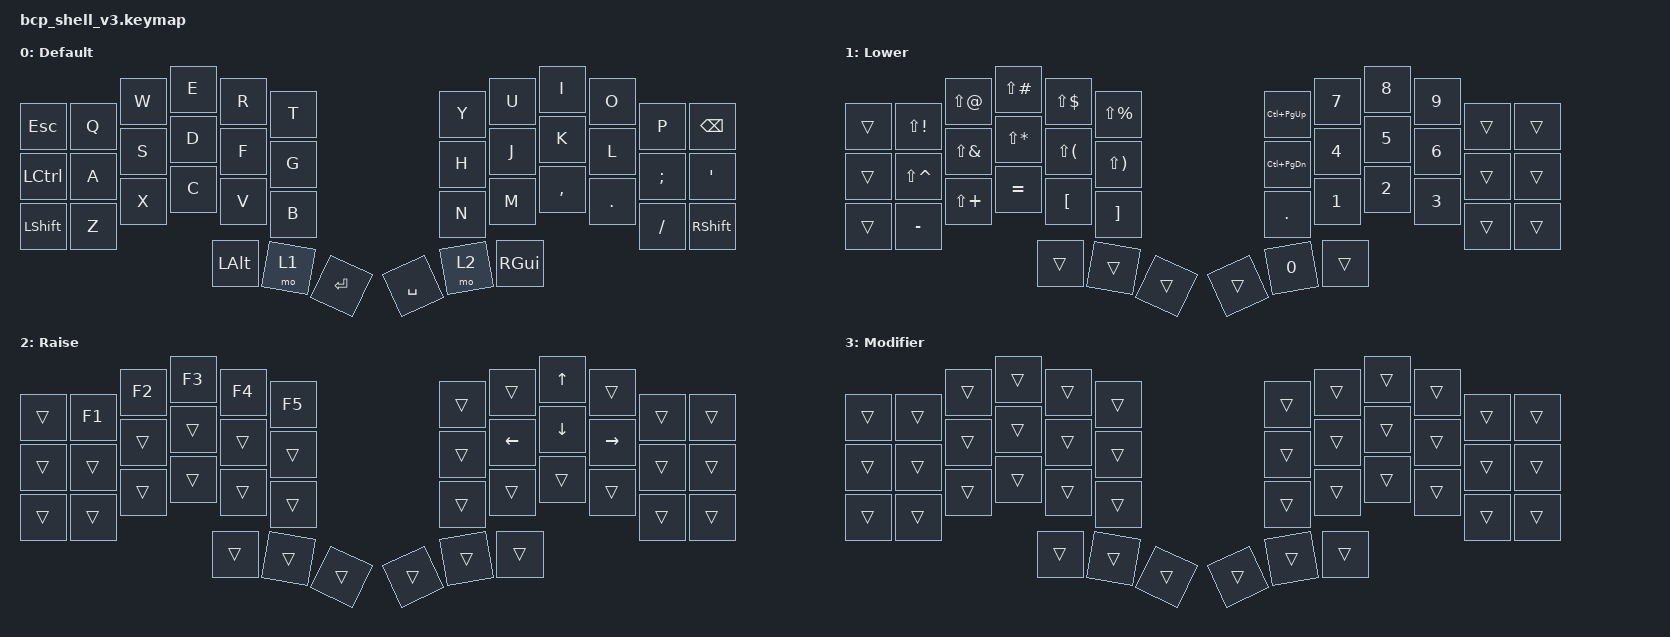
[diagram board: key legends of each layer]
#include <behaviors.dtsi>
#include <dt-bindings/zmk/keys.h>

/ {
    combos {
        compatible = "zmk,combos";

        Tab {
            bindings = <&kp TAB>;
            key-positions = <0 1>;
        };

        Del {
            bindings = <&kp DELETE>;
            key-positions = <10 11>;
        };

        ZMK-Studio {
            bindings = <&studio_unlock>;
            key-positions = <22 23>;
        };
    };

    keymap {
        compatible = "zmk,keymap";

        Default {
            bindings = <
&kp ESC    &kp Q  &kp W  &kp E     &kp R  &kp T      &kp Y      &kp U  &kp I      &kp O    &kp P     &kp BSPC
&kp LCTRL  &kp A  &kp S  &kp D     &kp F  &kp G      &kp H      &kp J  &kp K      &kp L    &kp SEMI  &kp APOS
&kp LSHFT  &kp Z  &kp X  &kp C     &kp V  &kp B      &kp N      &kp M  &kp COMMA  &kp DOT  &kp FSLH  &kp RSHFT
                         &kp LALT  &mo 1  &kp ENTER  &kp SPACE  &mo 2  &kp RGUI
            >;
        };

        Lower {
            bindings = <
&trans  &kp LS(EXCL)   &kp LS(AT)    &kp LS(POUND)  &kp LS(DLLR)  &kp LS(PRCNT)  &kp LC(PG_UP)  &kp N7  &kp N8  &kp N9  &trans  &trans
&trans  &kp LS(CARET)  &kp LS(AMPS)  &kp LS(STAR)   &kp LS(LPAR)  &kp LS(RPAR)   &kp LC(PG_DN)  &kp N4  &kp N5  &kp N6  &trans  &trans
&trans  &kp MINUS      &kp LS(PLUS)  &kp EQUAL      &kp LBKT      &kp RBKT       &kp PERIOD     &kp N1  &kp N2  &kp N3  &trans  &trans
                                     &trans         &trans        &trans         &trans         &kp N0  &trans
            >;
        };

        Raise {
            bindings = <
&trans  &kp F1  &kp F2  &kp F3  &kp F4  &kp F5  &trans  &trans    &kp UP    &trans     &trans  &trans
&trans  &trans  &trans  &trans  &trans  &trans  &trans  &kp LEFT  &kp DOWN  &kp RIGHT  &trans  &trans
&trans  &trans  &trans  &trans  &trans  &trans  &trans  &trans    &trans    &trans     &trans  &trans
                        &trans  &trans  &trans  &trans  &trans    &trans
            >;
        };

        Modifier {
            bindings = <
&trans  &trans  &trans  &trans  &trans  &trans  &trans  &trans  &trans  &trans  &trans  &trans
&trans  &trans  &trans  &trans  &trans  &trans  &trans  &trans  &trans  &trans  &trans  &trans
&trans  &trans  &trans  &trans  &trans  &trans  &trans  &trans  &trans  &trans  &trans  &trans
                        &trans  &trans  &trans  &trans  &trans  &trans
            >;
        };
    };
};
